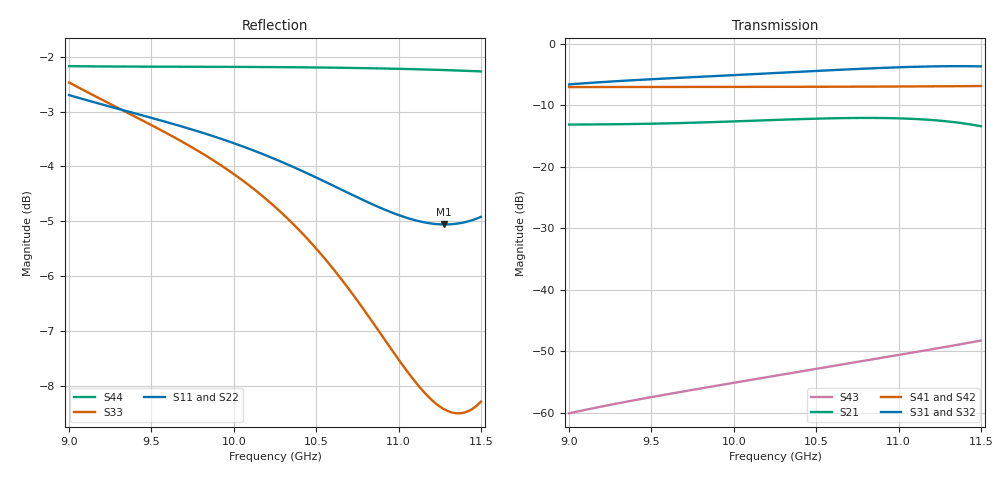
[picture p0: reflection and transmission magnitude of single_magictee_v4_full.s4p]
! Generated from PyAEDT SolutionData; AEDT ExportNetworkData workaround
# GHz S MA R 50
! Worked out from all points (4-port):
!   101 points, 9 GHz to 11.5 GHz, reference 50 ohm
!   strongest paths, dB at 9 GHz, 9.625 GHz, 10.25 GHz, 10.88 GHz, 11.5 GHz:
!     S31: -6.6, -5.6, -4.8, -4.0, -3.7
!     S32: -6.7, -5.6, -4.8, -4.0, -3.7
!     S41: -7.1, -7.0, -7.0, -7.0, -6.9
!     S42: -7.1, -7.1, -7.0, -7.0, -6.9
!     S21: -13.2, -12.9, -12.4, -12.1, -13.4
!     S43: -60.1, -56.9, -54.0, -51.2, -48.3
!   lowest |S11| = -5.1 dB at 11.28 GHz (marker M1), VSWR 3.53, Z = 14.8 + j10.5 ohm
!   |S11| at or under -10 dB: nowhere
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9  0.7328 38.6  0.22 -54.9  0.4665 9.9  0.4438 37.3
   0.22 -54.9  0.7339 38.7  0.465 10.0  0.4435 -142.5
   0.4665 9.9  0.465 10.0  0.7524 178.2  0.0009849 66.4
   0.4438 37.3  0.4435 -142.5  0.0009849 66.4  0.7787 -160.3
9.425  0.7036 -11.7  0.2226 -112.6  0.5076 -65.2  0.4446 -7.7
       0.2226 -112.6  0.7052 -11.6  0.506 -65.1  0.4439 172.5
       0.5076 -65.2  0.506 -65.1  0.6973 79.6  0.001279 -8.8
       0.4446 -7.7  0.4439 172.5  0.001279 -8.8  0.778 160.1
9.775  0.6797 -51.7  0.2282 -158.4  0.5365 -124.8  0.4451 -43.6
       0.2282 -158.4  0.6819 -51.6  0.5347 -124.7  0.4439 136.6
       0.5365 -124.8  0.5347 -124.7  0.6529 1.7  0.001549 -68.6
       0.4451 -43.6  0.4439 136.6  0.001549 -68.6  0.7777 128.4
10.15  0.6498 -93.3  0.2371 153.1  0.5683 172.8  0.4456 -81.1
       0.2371 153.1  0.6526 -93.2  0.5662 172.9  0.4441 99.2
       0.5683 172.8  0.5662 172.9  0.597 -79.7  0.001887 -131.6
       0.4456 -81.1  0.4441 99.2  0.001887 -131.6  0.7773 95.1
10.6  0.6064 -140.9  0.2473 94.4  0.6095 98.4  0.4468 -125.2
      0.2473 94.4  0.6102 -140.8  0.6072 98.5  0.4448 55.2
      0.6095 98.4  0.6072 98.5  0.5097 -178.7  0.002386 153.4
      0.4468 -125.2  0.4448 55.2  0.002386 153.4  0.7762 55.7
11.275  0.5587 154.3  0.2349 5.2  0.6556 -16.7  0.4505 170.1
        0.2349 5.2  0.5639 154.4  0.653 -16.5  0.4478 -9.4
        0.6556 -16.7  0.653 -16.5  0.3793 11.0  0.003398 39.0
        0.4505 170.1  0.4478 -9.4  0.003398 39.0  0.7724 -2.7
11.5  0.5677 133.5  0.2131 -22.6  0.6538 -57.3  0.4527 148.7
      0.2131 -22.6  0.5732 133.7  0.6513 -57.1  0.4493 -30.8
      0.6538 -57.3  0.6513 -57.1  0.3852 -55.1  0.003847 -0.7
      0.4527 148.7  0.4493 -30.8  0.003847 -0.7  0.7702 -22.1
